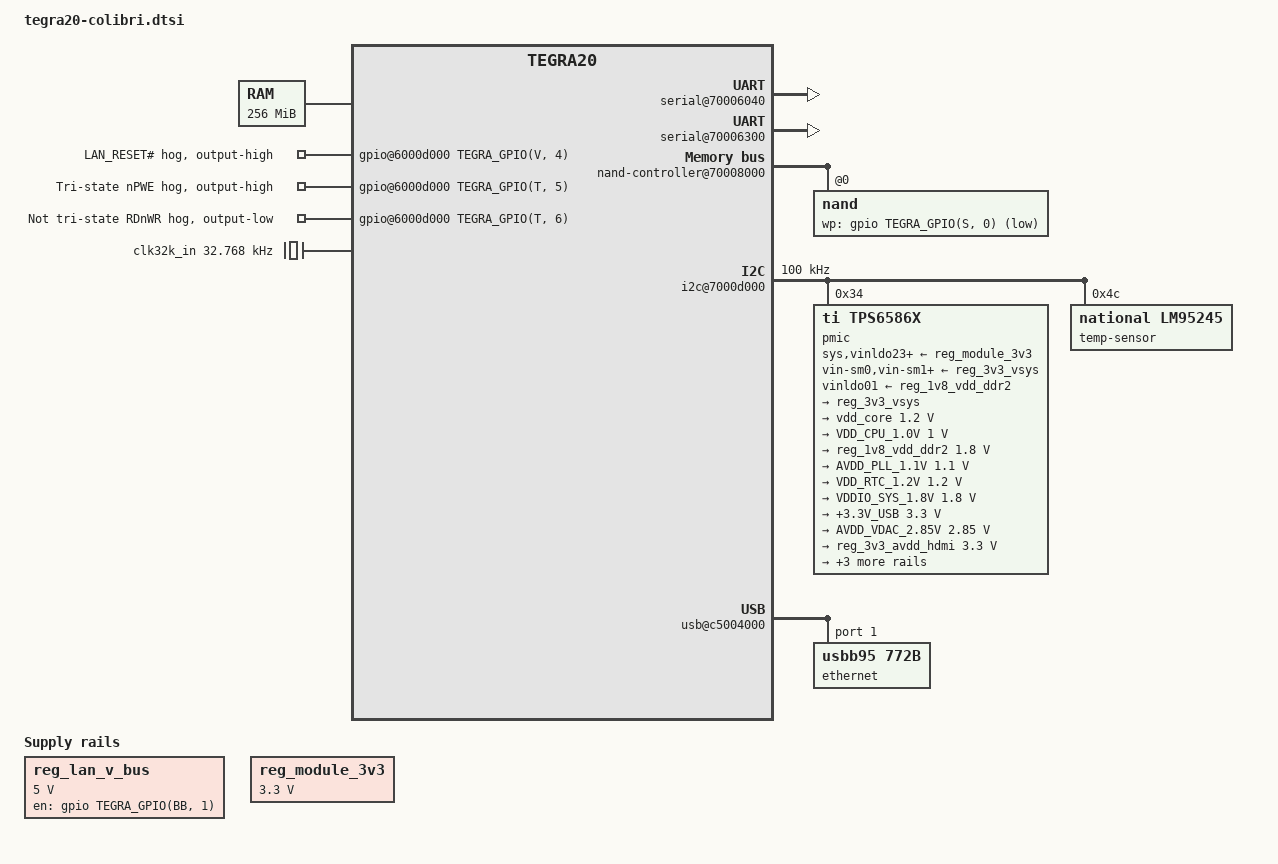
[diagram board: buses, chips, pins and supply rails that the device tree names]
// SPDX-License-Identifier: GPL-2.0
#include "tegra20.dtsi"

/*
 * Toradex Colibri T20 Module Device Tree
 * Compatible for Revisions Colibri T20 256MB V1.1B, V1.2A;
 * Colibri T20 256MB IT V1.2A; Colibri T20 512MB V1.1C, V1.2A;
 * Colibri T20 512MB IT V1.2A
 */
/ {
	memory@0 {
		/*
		 * Set memory to 256 MB to be safe as this could be used on
		 * 256 or 512 MB module. It is expected from bootloader
		 * to fix this up for 512 MB version.
		 */
		reg = <0x00000000 0x10000000>;
	};

	host1x@50000000 {
		hdmi@54280000 {
			nvidia,ddc-i2c-bus = <&hdmi_ddc>;
			nvidia,hpd-gpio =
				<&gpio TEGRA_GPIO(N, 7) GPIO_ACTIVE_HIGH>;
			pll-supply = <&reg_1v8_avdd_hdmi_pll>;
			vdd-supply = <&reg_3v3_avdd_hdmi>;
		};
	};

	gpio@6000d000 {
		lan-reset-n-hog {
			gpio-hog;
			gpios = <TEGRA_GPIO(V, 4) GPIO_ACTIVE_HIGH>;
			output-high;
			line-name = "LAN_RESET#";
		};

		/* Tri-stating GMI_WR_N on SODIMM pin 99 nPWE */
		npwe-hog {
			gpio-hog;
			gpios = <TEGRA_GPIO(T, 5) GPIO_ACTIVE_HIGH>;
			output-high;
			line-name = "Tri-state nPWE";
		};

		/* Not tri-stating GMI_WR_N on SODIMM pin 93 RDnWR */
		rdnwr-hog {
			gpio-hog;
			gpios = <TEGRA_GPIO(T, 6) GPIO_ACTIVE_HIGH>;
			output-low;
			line-name = "Not tri-state RDnWR";
		};
	};

	pinmux@70000014 {
		pinctrl-names = "default";
		pinctrl-0 = <&state_default>;

		state_default: pinmux {
			/* Analogue Audio AC97 to WM9712 (On-module) */
			audio-refclk {
				nvidia,pins = "cdev1";
				nvidia,function = "plla_out";
				nvidia,pull = <TEGRA_PIN_PULL_NONE>;
				nvidia,tristate = <TEGRA_PIN_DISABLE>;
			};
			dap3 {
				nvidia,pins = "dap3";
				nvidia,function = "dap3";
				nvidia,pull = <TEGRA_PIN_PULL_NONE>;
				nvidia,tristate = <TEGRA_PIN_DISABLE>;
			};

			/*
			 * AC97_RESET, ULPI_RESET, AC97_INT aka WM9712 GENIRQ
			 * (All on-module), SODIMM Pin 45 Wakeup
			 */
			gpio-uac {
				nvidia,pins = "uac";
				nvidia,function = "rsvd2";
				nvidia,pull = <TEGRA_PIN_PULL_NONE>;
				nvidia,tristate = <TEGRA_PIN_DISABLE>;
			};

			/*
			 * Buffer Enables for nPWE and RDnWR (On-module,
			 * see GPIO hogging further down below)
			 */
			gpio-pta {
				nvidia,pins = "pta";
				nvidia,function = "rsvd4";
				nvidia,pull = <TEGRA_PIN_PULL_NONE>;
				nvidia,tristate = <TEGRA_PIN_DISABLE>;
			};

			/*
			 * CLK_32K_OUT, CORE_PWR_REQ, CPU_PWR_REQ, PWR_INT_N,
			 * SYS_CLK_REQ (All on-module)
			 */
			pmc {
				nvidia,pins = "pmc";
				nvidia,function = "pwr_on";
				nvidia,tristate = <TEGRA_PIN_DISABLE>;
			};

			/*
			 * Colibri Address/Data Bus (GMI)
			 * Note: spid and spie optionally used for SPI1
			 */
			gmi {
				nvidia,pins = "atc", "atd", "ate", "dap1",
					      "dap2", "dap4", "gmd", "gpu",
					      "irrx", "irtx", "spia", "spib",
					      "spic", "spid", "spie", "uca",
					      "ucb";
				nvidia,function = "gmi";
				nvidia,pull = <TEGRA_PIN_PULL_NONE>;
				nvidia,tristate = <TEGRA_PIN_ENABLE>;
			};
			/* Further pins may be used as GPIOs */
			gmi-gpio1 {
				nvidia,pins = "lpw0", "lsc1", "lsck", "lsda";
				nvidia,function = "hdmi";
				nvidia,tristate = <TEGRA_PIN_ENABLE>;
			};
			gmi-gpio2 {
				nvidia,pins = "lcsn", "ldc", "lm0", "lsdi";
				nvidia,function = "rsvd4";
				nvidia,tristate = <TEGRA_PIN_ENABLE>;
			};

			/* Colibri BL_ON */
			bl-on {
				nvidia,pins = "dta";
				nvidia,function = "rsvd1";
				nvidia,pull = <TEGRA_PIN_PULL_NONE>;
				nvidia,tristate = <TEGRA_PIN_ENABLE>;
			};

			/* Colibri Backlight PWM<A>, PWM<B> */
			sdc {
				nvidia,pins = "sdc";
				nvidia,function = "pwm";
				nvidia,tristate = <TEGRA_PIN_ENABLE>;
			};

			/* Colibri DDC */
			ddc {
				nvidia,pins = "ddc";
				nvidia,function = "i2c2";
				nvidia,pull = <TEGRA_PIN_PULL_UP>;
				nvidia,tristate = <TEGRA_PIN_ENABLE>;
			};

			/*
			 * Colibri EXT_IO*
			 * Note: dtf optionally used for I2C3
			 */
			ext-io {
				nvidia,pins = "dtf", "spdi";
				nvidia,function = "rsvd2";
				nvidia,pull = <TEGRA_PIN_PULL_NONE>;
				nvidia,tristate = <TEGRA_PIN_ENABLE>;
			};

			/*
			 * Colibri Ethernet (On-module)
			 * ULPI EHCI instance 1 USB2_DP/N -> AX88772B
			 */
			ulpi {
				nvidia,pins = "uaa", "uab", "uda";
				nvidia,function = "ulpi";
				nvidia,pull = <TEGRA_PIN_PULL_NONE>;
				nvidia,tristate = <TEGRA_PIN_DISABLE>;
			};
			ulpi-refclk {
				nvidia,pins = "cdev2";
				nvidia,function = "pllp_out4";
				nvidia,pull = <TEGRA_PIN_PULL_NONE>;
				nvidia,tristate = <TEGRA_PIN_DISABLE>;
			};

			/* Colibri HOTPLUG_DETECT (HDMI) */
			hotplug-detect {
				nvidia,pins = "hdint";
				nvidia,function = "hdmi";
				nvidia,tristate = <TEGRA_PIN_ENABLE>;
			};

			/* Colibri I2C */
			i2c {
				nvidia,pins = "rm";
				nvidia,function = "i2c1";
				nvidia,pull = <TEGRA_PIN_PULL_NONE>;
				nvidia,tristate = <TEGRA_PIN_ENABLE>;
			};

			/*
			 * Colibri L_BIAS, LCD_M1 is muxed with LCD_DE
			 * today's display need DE, disable LCD_M1
			 */
			lm1 {
				nvidia,pins = "lm1";
				nvidia,function = "rsvd3";
				nvidia,tristate = <TEGRA_PIN_ENABLE>;
			};

			/* Colibri LCD (L_* resp. LDD<*>) */
			lcd {
				nvidia,pins = "ld0", "ld1", "ld2", "ld3",
					      "ld4", "ld5", "ld6", "ld7",
					      "ld8", "ld9", "ld10", "ld11",
					      "ld12", "ld13", "ld14", "ld15",
					      "ld16", "ld17", "lhs", "lsc0",
					      "lspi", "lvs";
				nvidia,function = "displaya";
				nvidia,tristate = <TEGRA_PIN_ENABLE>;
			};
			/* Colibri LCD (Optional 24 BPP Support) */
			lcd-24 {
				nvidia,pins = "ldi", "lhp0", "lhp1", "lhp2",
					      "lpp", "lvp1";
				nvidia,function = "displaya";
				nvidia,tristate = <TEGRA_PIN_ENABLE>;
			};

			/* Colibri MMC */
			mmc {
				nvidia,pins = "atb", "gma";
				nvidia,function = "sdio4";
				nvidia,pull = <TEGRA_PIN_PULL_NONE>;
				nvidia,tristate = <TEGRA_PIN_ENABLE>;
			};

			/* Colibri MMCCD */
			mmccd {
				nvidia,pins = "gmb";
				nvidia,function = "gmi_int";
				nvidia,pull = <TEGRA_PIN_PULL_NONE>;
				nvidia,tristate = <TEGRA_PIN_ENABLE>;
			};

			/* Colibri MMC (Optional 8-bit) */
			mmc-8bit {
				nvidia,pins = "gme";
				nvidia,function = "sdio4";
				nvidia,pull = <TEGRA_PIN_PULL_NONE>;
				nvidia,tristate = <TEGRA_PIN_ENABLE>;
			};

			/*
			 * Colibri Parallel Camera (Optional)
			 * pins multiplexed with others and therefore disabled
			 * Note: dta used for BL_ON by default
			 */
			cif-mclk {
				nvidia,pins = "csus";
				nvidia,function = "vi_sensor_clk";
				nvidia,pull = <TEGRA_PIN_PULL_NONE>;
				nvidia,tristate = <TEGRA_PIN_ENABLE>;
			};
			cif {
				nvidia,pins = "dtb", "dtc", "dtd";
				nvidia,function = "vi";
				nvidia,pull = <TEGRA_PIN_PULL_NONE>;
				nvidia,tristate = <TEGRA_PIN_ENABLE>;
			};

			/* Colibri PWM<C>, PWM<D> */
			sdb_sdd {
				nvidia,pins = "sdb", "sdd";
				nvidia,function = "pwm";
				nvidia,tristate = <TEGRA_PIN_ENABLE>;
			};

			/* Colibri SSP */
			ssp {
				nvidia,pins = "slxa", "slxc", "slxd", "slxk";
				nvidia,function = "spi4";
				nvidia,pull = <TEGRA_PIN_PULL_NONE>;
				nvidia,tristate = <TEGRA_PIN_ENABLE>;
			};

			/* Colibri UART-A */
			uart-a {
				nvidia,pins = "sdio1";
				nvidia,function = "uarta";
				nvidia,pull = <TEGRA_PIN_PULL_NONE>;
				nvidia,tristate = <TEGRA_PIN_ENABLE>;
			};
			uart-a-dsr {
				nvidia,pins = "lpw1";
				nvidia,function = "rsvd3";
				nvidia,tristate = <TEGRA_PIN_ENABLE>;
			};
			uart-a-dcd {
				nvidia,pins = "lpw2";
				nvidia,function = "hdmi";
				nvidia,tristate = <TEGRA_PIN_ENABLE>;
			};

			/* Colibri UART-B */
			uart-b {
				nvidia,pins = "gmc";
				nvidia,function = "uartd";
				nvidia,pull = <TEGRA_PIN_PULL_NONE>;
				nvidia,tristate = <TEGRA_PIN_ENABLE>;
			};

			/* Colibri UART-C */
			uart-c {
				nvidia,pins = "uad";
				nvidia,function = "irda";
				nvidia,pull = <TEGRA_PIN_PULL_NONE>;
				nvidia,tristate = <TEGRA_PIN_ENABLE>;
			};

			/* Colibri USB_CDET */
			usb-cdet {
				nvidia,pins = "spdo";
				nvidia,function = "rsvd2";
				nvidia,pull = <TEGRA_PIN_PULL_NONE>;
				nvidia,tristate = <TEGRA_PIN_ENABLE>;
			};

			/* Colibri USBH_OC */
			usbh-oc {
				nvidia,pins = "spih";
				nvidia,function = "spi2_alt";
				nvidia,pull = <TEGRA_PIN_PULL_NONE>;
				nvidia,tristate = <TEGRA_PIN_ENABLE>;
			};

			/* Colibri USBH_PEN */
			usbh-pen {
				nvidia,pins = "spig";
				nvidia,function = "spi2_alt";
				nvidia,pull = <TEGRA_PIN_PULL_NONE>;
				nvidia,tristate = <TEGRA_PIN_ENABLE>;
			};

			/* Colibri VGA not supported */
			vga {
				nvidia,pins = "crtp";
				nvidia,function = "crt";
				nvidia,pull = <TEGRA_PIN_PULL_NONE>;
				nvidia,tristate = <TEGRA_PIN_ENABLE>;
			};

			/* I2C3 (Optional) */
			i2c3 {
				nvidia,pins = "dtf";
				nvidia,function = "i2c3";
				nvidia,pull = <TEGRA_PIN_PULL_NONE>;
				nvidia,tristate = <TEGRA_PIN_ENABLE>;
			};

			/* JTAG_RTCK */
			jtag-rtck {
				nvidia,pins = "gpu7";
				nvidia,function = "rtck";
				nvidia,pull = <TEGRA_PIN_PULL_NONE>;
				nvidia,tristate = <TEGRA_PIN_ENABLE>;
			};

			/*
			 * LAN_RESET, LAN_EXT_WAKEUP and LAN_PME
			 * (All On-module)
			 */
			gpio-gpv {
				nvidia,pins = "gpv";
				nvidia,function = "rsvd2";
				nvidia,pull = <TEGRA_PIN_PULL_NONE>;
				nvidia,tristate = <TEGRA_PIN_DISABLE>;
			};

			/*
			 * LAN_V_BUS, VDD_FAULT, BATT_FAULT, WM9712 PENDOWN
			 * (All On-module); Colibri CAN_INT
			 */
			gpio-dte {
				nvidia,pins = "dte";
				nvidia,function = "rsvd1";
				nvidia,pull = <TEGRA_PIN_PULL_NONE>;
				nvidia,tristate = <TEGRA_PIN_DISABLE>;
			};

			/* NAND (On-module) */
			nand {
				nvidia,pins = "kbca", "kbcb", "kbcc", "kbcd",
					      "kbce", "kbcf";
				nvidia,function = "nand";
				nvidia,pull = <TEGRA_PIN_PULL_NONE>;
				nvidia,tristate = <TEGRA_PIN_DISABLE>;
			};

			/* Onewire (Optional) */
			owr {
				nvidia,pins = "owc";
				nvidia,function = "owr";
				nvidia,pull = <TEGRA_PIN_PULL_NONE>;
				nvidia,tristate = <TEGRA_PIN_ENABLE>;
			};

			/* Power I2C (On-module) */
			i2cp {
				nvidia,pins = "i2cp";
				nvidia,function = "i2cp";
				nvidia,pull = <TEGRA_PIN_PULL_NONE>;
				nvidia,tristate = <TEGRA_PIN_DISABLE>;
			};

			/* RESET_OUT */
			reset-out {
				nvidia,pins = "ata";
				nvidia,function = "gmi";
				nvidia,pull = <TEGRA_PIN_PULL_NONE>;
				nvidia,tristate = <TEGRA_PIN_DISABLE>;
			};

			/*
			 * SPI1 (Optional)
			 * Note: spid and spie used for Colibri Address/Data
			 *       Bus (GMI)
			 */
			spi1 {
				nvidia,pins = "spid", "spie", "spif";
				nvidia,function = "spi1";
				nvidia,pull = <TEGRA_PIN_PULL_NONE>;
				nvidia,tristate = <TEGRA_PIN_ENABLE>;
			};

			/*
			 * THERMD_ALERT# (On-module), unlatched I2C address pin
			 * of LM95245 temperature sensor therefore requires
			 * disabling for now
			 */
			lvp0 {
				nvidia,pins = "lvp0";
				nvidia,function = "rsvd3";
				nvidia,tristate = <TEGRA_PIN_ENABLE>;
			};
		};
	};

	tegra_ac97: ac97@70002000 {
		status = "okay";
		nvidia,codec-reset-gpio =
			<&gpio TEGRA_GPIO(V, 0) GPIO_ACTIVE_HIGH>;
		nvidia,codec-sync-gpio =
			<&gpio TEGRA_GPIO(P, 0) GPIO_ACTIVE_HIGH>;
	};

	serial@70006040 {
		compatible = "nvidia,tegra20-hsuart";
		/delete-property/ reg-shift;
	};

	serial@70006300 {
		compatible = "nvidia,tegra20-hsuart";
		/delete-property/ reg-shift;
	};

	nand-controller@70008000 {
		status = "okay";

		nand@0 {
			reg = <0>;
			#address-cells = <1>;
			#size-cells = <1>;
			nand-bus-width = <8>;
			nand-on-flash-bbt;
			nand-ecc-algo = "bch";
			nand-is-boot-medium;
			nand-ecc-maximize;
			wp-gpios = <&gpio TEGRA_GPIO(S, 0) GPIO_ACTIVE_LOW>;
		};
	};

	/*
	 * GEN1_I2C: I2C_SDA/SCL on SODIMM pin 194/196 (e.g. RTC on carrier
	 * board)
	 */
	i2c@7000c000 {
		clock-frequency = <400000>;
	};

	/* DDC_SCL/SDA on X3 pin 15/16 (e.g. display EDID) */
	hdmi_ddc: i2c@7000c400 {
		clock-frequency = <10000>;
	};

	/* GEN2_I2C: unused */

	/* CAM/GEN3_I2C: used as EXT_IO1/2 GPIOs on SODIMM pin 133/127 */

	/* PWR_I2C: power I2C to PMIC and temperature sensor (On-module) */
	i2c@7000d000 {
		status = "okay";
		clock-frequency = <100000>;

		pmic@34 {
			compatible = "ti,tps6586x";
			reg = <0x34>;
			interrupts = <GIC_SPI 86 IRQ_TYPE_LEVEL_HIGH>;
			ti,system-power-controller;
			#gpio-cells = <2>;
			gpio-controller;
			sys-supply = <&reg_module_3v3>;
			vin-sm0-supply = <&reg_3v3_vsys>;
			vin-sm1-supply = <&reg_3v3_vsys>;
			vin-sm2-supply = <&reg_3v3_vsys>;
			vinldo01-supply = <&reg_1v8_vdd_ddr2>;
			vinldo23-supply = <&reg_module_3v3>;
			vinldo4-supply = <&reg_module_3v3>;
			vinldo678-supply = <&reg_module_3v3>;
			vinldo9-supply = <&reg_module_3v3>;

			regulators {
				reg_3v3_vsys: sys {
					regulator-name = "VSYS_3.3V";
					regulator-always-on;
				};

				vdd_core: sm0 {
					regulator-name = "VDD_CORE_1.2V";
					regulator-min-microvolt = <1200000>;
					regulator-max-microvolt = <1200000>;
					regulator-always-on;
				};

				sm1 {
					regulator-name = "VDD_CPU_1.0V";
					regulator-min-microvolt = <1000000>;
					regulator-max-microvolt = <1000000>;
					regulator-always-on;
				};

				reg_1v8_vdd_ddr2: sm2 {
					regulator-name = "VDD_DDR2_1.8V";
					regulator-min-microvolt = <1800000>;
					regulator-max-microvolt = <1800000>;
					regulator-always-on;
				};

				/* LDO0 is not connected to anything */

				/*
				 * +3.3V_ENABLE_N switching via FET:
				 * AVDD_AUDIO_S and +3.3V
				 * see also +3.3V fixed supply
				 */
				ldo1 {
					regulator-name = "AVDD_PLL_1.1V";
					regulator-min-microvolt = <1100000>;
					regulator-max-microvolt = <1100000>;
					regulator-always-on;
				};

				ldo2 {
					regulator-name = "VDD_RTC_1.2V";
					regulator-min-microvolt = <1200000>;
					regulator-max-microvolt = <1200000>;
				};

				/* LDO3 is not connected to anything */

				ldo4 {
					regulator-name = "VDDIO_SYS_1.8V";
					regulator-min-microvolt = <1800000>;
					regulator-max-microvolt = <1800000>;
					regulator-always-on;
				};

				/* Switched via FET from regular +3.3V */
				ldo5 {
					regulator-name = "+3.3V_USB";
					regulator-min-microvolt = <3300000>;
					regulator-max-microvolt = <3300000>;
					regulator-always-on;
				};

				ldo6 {
					regulator-name = "AVDD_VDAC_2.85V";
					regulator-min-microvolt = <2850000>;
					regulator-max-microvolt = <2850000>;
				};

				reg_3v3_avdd_hdmi: ldo7 {
					regulator-name = "AVDD_HDMI_3.3V";
					regulator-min-microvolt = <3300000>;
					regulator-max-microvolt = <3300000>;
				};

				reg_1v8_avdd_hdmi_pll: ldo8 {
					regulator-name = "AVDD_HDMI_PLL_1.8V";
					regulator-min-microvolt = <1800000>;
					regulator-max-microvolt = <1800000>;
				};

				ldo9 {
					regulator-name = "VDDIO_RX_DDR_2.85V";
					regulator-min-microvolt = <2850000>;
					regulator-max-microvolt = <2850000>;
					regulator-always-on;
				};

				ldo_rtc {
					regulator-name = "VCC_BATT";
					regulator-min-microvolt = <3300000>;
					regulator-max-microvolt = <3300000>;
					regulator-always-on;
				};
			};
		};

		/* LM95245 temperature sensor */
		temp-sensor@4c {
			compatible = "national,lm95245";
			reg = <0x4c>;
		};
	};

	pmc@7000e400 {
		nvidia,suspend-mode = <1>;
		nvidia,cpu-pwr-good-time = <5000>;
		nvidia,cpu-pwr-off-time = <5000>;
		nvidia,core-pwr-good-time = <3845 3845>;
		nvidia,core-pwr-off-time = <3875>;
		nvidia,sys-clock-req-active-high;
		core-supply = <&vdd_core>;

		/* Set SLEEP MODE bit in SUPPLYENE register of TPS658643 PMIC */
		i2c-thermtrip {
			nvidia,i2c-controller-id = <3>;
			nvidia,bus-addr = <0x34>;
			nvidia,reg-addr = <0x14>;
			nvidia,reg-data = <0x8>;
		};
	};

	memory-controller@7000f400 {
		emc-table@83250 {
			reg = <83250>;
			compatible = "nvidia,tegra20-emc-table";
			clock-frequency = <83250>;
			nvidia,emc-registers =   <0x00000005 0x00000011
				0x00000004 0x00000002 0x00000004 0x00000004
				0x00000001 0x0000000a 0x00000002 0x00000002
				0x00000001 0x00000001 0x00000003 0x00000004
				0x00000003 0x00000009 0x0000000c 0x0000025f
				0x00000000 0x00000003 0x00000003 0x00000002
				0x00000002 0x00000001 0x00000008 0x000000c8
				0x00000003 0x00000005 0x00000003 0x0000000c
				0x00000002 0x00000000 0x00000000 0x00000002
				0x00000000 0x00000000 0x00000083 0x00520006
				0x00000010 0x00000008 0x00000000 0x00000000
				0x00000000 0x00000000 0x00000000 0x00000000>;
		};
		emc-table@133200 {
			reg = <133200>;
			compatible = "nvidia,tegra20-emc-table";
			clock-frequency = <133200>;
			nvidia,emc-registers =   <0x00000008 0x00000019
				0x00000006 0x00000002 0x00000004 0x00000004
				0x00000001 0x0000000a 0x00000002 0x00000002
				0x00000002 0x00000001 0x00000003 0x00000004
				0x00000003 0x00000009 0x0000000c 0x0000039f
				0x00000000 0x00000003 0x00000003 0x00000002
				0x00000002 0x00000001 0x00000008 0x000000c8
				0x00000003 0x00000007 0x00000003 0x0000000c
				0x00000002 0x00000000 0x00000000 0x00000002
				0x00000000 0x00000000 0x00000083 0x00510006
				0x00000010 0x00000008 0x00000000 0x00000000
				0x00000000 0x00000000 0x00000000 0x00000000>;
		};
		emc-table@166500 {
			reg = <166500>;
			compatible = "nvidia,tegra20-emc-table";
			clock-frequency = <166500>;
			nvidia,emc-registers =   <0x0000000a 0x00000021
				0x00000008 0x00000003 0x00000004 0x00000004
				0x00000002 0x0000000a 0x00000003 0x00000003
				0x00000002 0x00000001 0x00000003 0x00000004
				0x00000003 0x00000009 0x0000000c 0x000004df
				0x00000000 0x00000003 0x00000003 0x00000003
				0x00000003 0x00000001 0x00000009 0x000000c8
				0x00000003 0x00000009 0x00000004 0x0000000c
				0x00000002 0x00000000 0x00000000 0x00000002
				0x00000000 0x00000000 0x00000083 0x004f0006
				0x00000010 0x00000008 0x00000000 0x00000000
				0x00000000 0x00000000 0x00000000 0x00000000>;
		};
		emc-table@333000 {
			reg = <333000>;
			compatible = "nvidia,tegra20-emc-table";
			clock-frequency = <333000>;
			nvidia,emc-registers =   <0x00000014 0x00000041
				0x0000000f 0x00000005 0x00000004 0x00000005
				0x00000003 0x0000000a 0x00000005 0x00000005
				0x00000004 0x00000001 0x00000003 0x00000004
				0x00000003 0x00000009 0x0000000c 0x000009ff
				0x00000000 0x00000003 0x00000003 0x00000005
				0x00000005 0x00000001 0x0000000e 0x000000c8
				0x00000003 0x00000011 0x00000006 0x0000000c
				0x00000002 0x00000000 0x00000000 0x00000002
				0x00000000 0x00000000 0x00000083 0x00380006
				0x00000010 0x00000008 0x00000000 0x00000000
				0x00000000 0x00000000 0x00000000 0x00000000>;
		};
	};

	/* EHCI instance 1: ULPI PHY -> AX88772B (On-module) */
	usb@c5004000 {
		status = "okay";
		#address-cells = <1>;
		#size-cells = <0>;

		ethernet@1 {
			compatible = "usbb95,772b";
			reg = <1>;
			local-mac-address = [00 00 00 00 00 00];
		};
	};

	usb-phy@c5004000 {
		status = "okay";
		nvidia,phy-reset-gpio =
			<&gpio TEGRA_GPIO(V, 1) GPIO_ACTIVE_LOW>;
		vbus-supply = <&reg_lan_v_bus>;
	};

	clk32k_in: clock-xtal3 {
		compatible = "fixed-clock";
		#clock-cells = <0>;
		clock-frequency = <32768>;
	};

	opp-table-emc {
		/delete-node/ opp-760000000;
	};

	reg_lan_v_bus: regulator-lan-v-bus {
		compatible = "regulator-fixed";
		regulator-name = "LAN_V_BUS";
		regulator-min-microvolt = <5000000>;
		regulator-max-microvolt = <5000000>;
		enable-active-high;
		gpio = <&gpio TEGRA_GPIO(BB, 1) GPIO_ACTIVE_HIGH>;
	};

	reg_module_3v3: regulator-module-3v3 {
		compatible = "regulator-fixed";
		regulator-name = "+V3.3";
		regulator-min-microvolt = <3300000>;
		regulator-max-microvolt = <3300000>;
		regulator-always-on;
	};

	sound {
		compatible = "nvidia,tegra-audio-wm9712-colibri_t20",
			     "nvidia,tegra-audio-wm9712";
		nvidia,model = "Toradex Colibri T20";
		nvidia,audio-routing =
			"Headphone", "HPOUTL",
			"Headphone", "HPOUTR",
			"LineIn", "LINEINL",
			"LineIn", "LINEINR",
			"Mic", "MIC1";
		nvidia,ac97-controller = <&tegra_ac97>;
		clocks = <&tegra_car TEGRA20_CLK_PLL_A>,
			 <&tegra_car TEGRA20_CLK_PLL_A_OUT0>,
			 <&tegra_car TEGRA20_CLK_CDEV1>;
		clock-names = "pll_a", "pll_a_out0", "mclk";
	};
};
